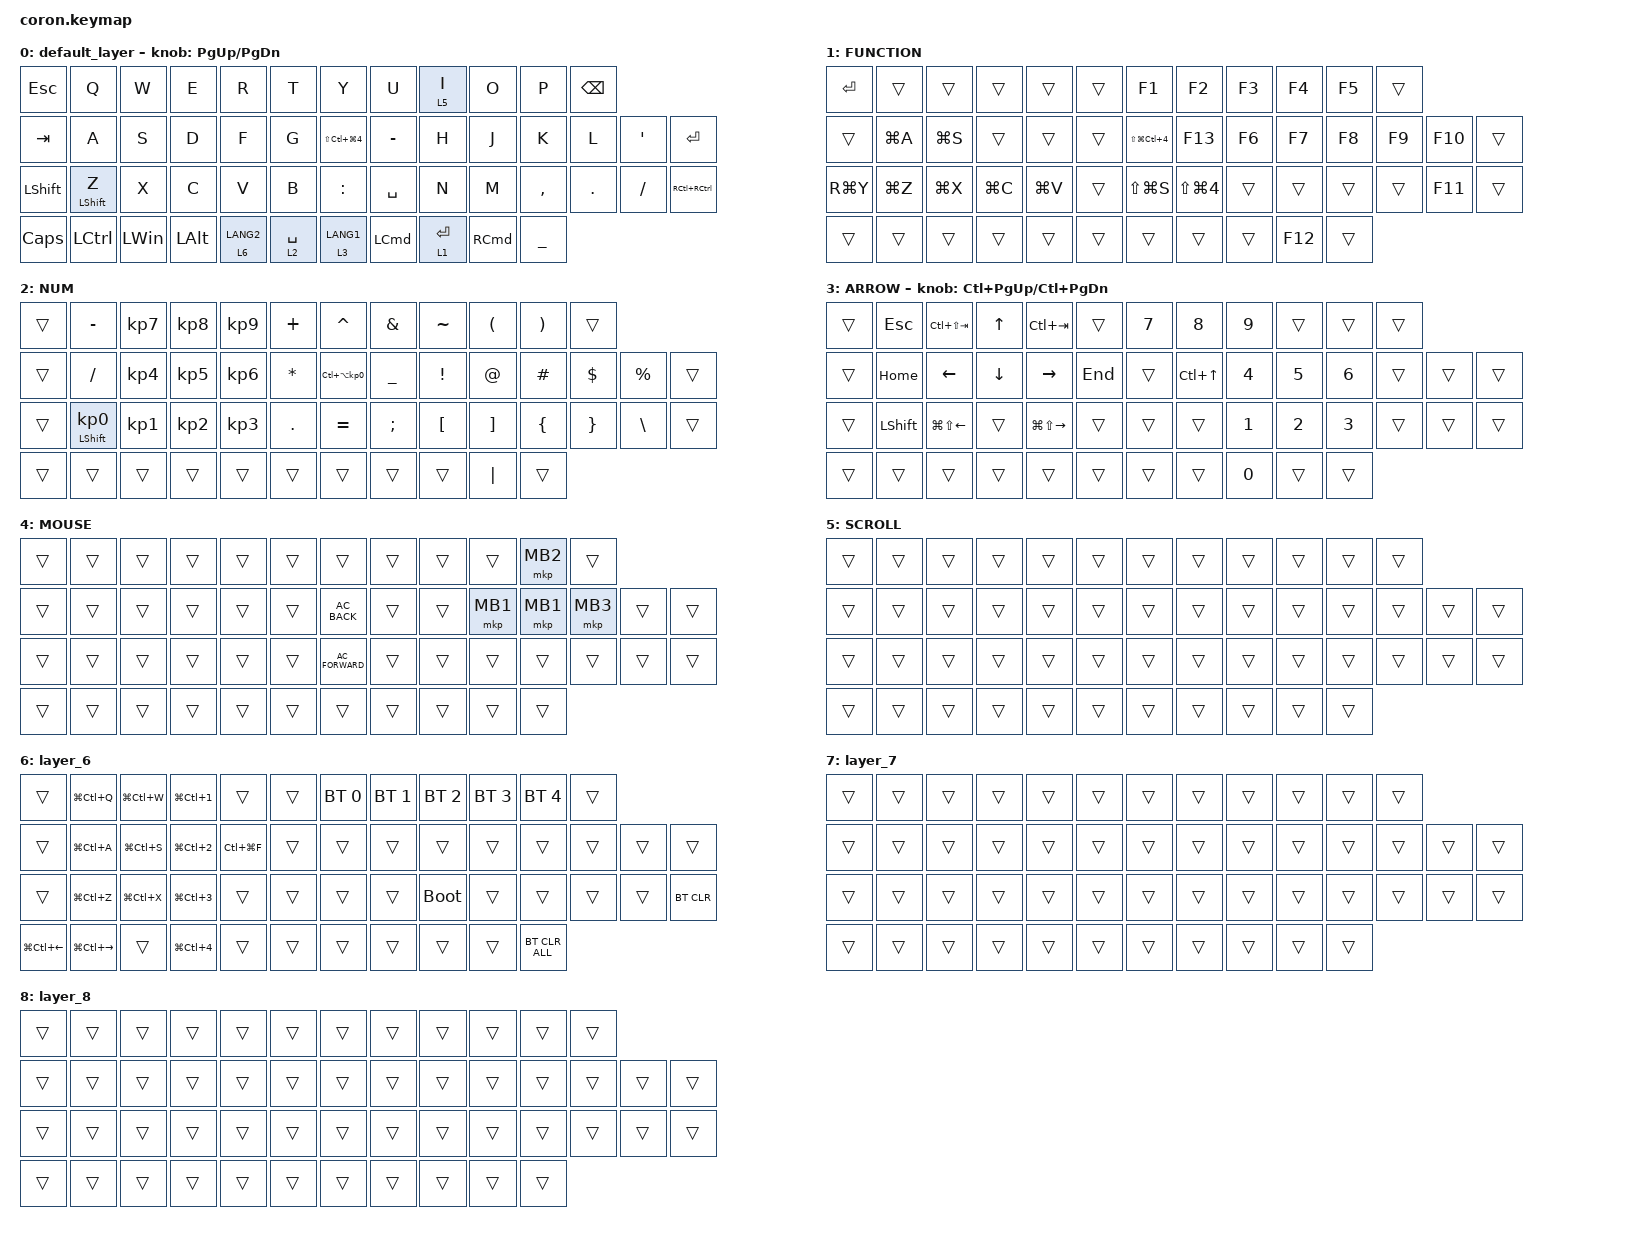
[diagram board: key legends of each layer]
/* coron.keymap */

#include <behaviors.dtsi>
#include <dt-bindings/zmk/bt.h>
#include <dt-bindings/zmk/keys.h>
#include <dt-bindings/zmk/pointing.h>

&mt {
    flavor = "balanced";
    quick-tap-ms = <0>;
};

&trackball {
    automouse-layer = <4>;
    scroll-layers = <5 7>;
};

/ {
    combos {
        compatible = "zmk,combos";

        /* Note: Key positions have shifted due to added columns. 
           You will need to recalculate these indices later. */

        tab {
            bindings = <&kp TAB>;
            key-positions = <11 12>;
        };

        shift_tab {
            bindings = <&kp LS(TAB)>;
            key-positions = <12 13>;
        };

        muhennkann {
            bindings = <&to_layer_0 INT_MUHENKAN>;
            key-positions = <11 10>;
        };

        double_quotation {
            bindings = <&kp DOUBLE_QUOTES>;
            key-positions = <20 21>;
        };

        eq {
            bindings = <&kp EQUAL>;
            key-positions = <24 25>;
        };
    };

    macros {
        to_layer_0: to_layer_0 {
            compatible = "zmk,behavior-macro-one-param";
            #binding-cells = <1>;
            bindings = <&to 0 &macro_param_1to1 &kp MACRO_PLACEHOLDER>;
            label = "TO_LAYER_0";
        };
    };

    behaviors {
        lt_to_layer_0: lt_to_layer_0 {
            compatible = "zmk,behavior-hold-tap";
            label = "LAYER_TAP_TO_0";
            bindings = <&mo>, <&to_layer_0>;

            #binding-cells = <2>;
            tapping-term-ms = <200>;
        };
    };

    keymap {
        compatible = "zmk,keymap";

        default_layer {
            bindings = <
&kp ESC         &kp Q             &kp W         &kp E         &kp R                   &kp T        &kp Y                     &kp U             &lt 5 I      &kp O              &kp P           &kp BACKSPACE
&kp TAB         &kp A             &kp S         &kp D         &kp F                   &kp G        &kp LS(LC(LG(NUMBER_4)))  &kp MINUS         &kp H        &kp J              &kp K           &kp L          &kp SQT    &kp ENTER
&kp LEFT_SHIFT  &mt LEFT_SHIFT Z  &kp X         &kp C         &kp V                   &kp B        &kp COLON                 &kp SPACE         &kp N        &kp M              &kp COMMA       &kp DOT        &kp SLASH  &kp RC(RCTRL)
&kp CAPS        &kp LCTRL         &kp LEFT_WIN  &kp LEFT_ALT  &lt_to_layer_0 6 LANG2  &lt 2 SPACE  &lt_to_layer_0 3 LANG1    &kp LEFT_COMMAND  &lt 1 ENTER  &kp RIGHT_COMMAND  &kp UNDERSCORE
            >;

            sensor-bindings = <&inc_dec_kp PG_UP PAGE_DOWN>;
        };

        FUNCTION {
            bindings = <
&kp ENTER  &trans     &trans     &trans     &trans     &trans  &kp F1                    &kp F2                &kp F3  &kp F4   &kp F5  &trans
&trans     &kp LG(A)  &kp LG(S)  &trans     &trans     &trans  &kp LS(LG(LC(NUMBER_4)))  &kp F13               &kp F6  &kp F7   &kp F8  &kp F9  &kp F10  &trans
&kp RG(Y)  &kp LG(Z)  &kp LG(X)  &kp LG(C)  &kp LG(V)  &trans  &kp LS(LG(S))             &kp LS(LG(NUMBER_4))  &trans  &trans   &trans  &trans  &kp F11  &trans
&trans     &trans     &trans     &trans     &trans     &trans  &trans                    &trans                &trans  &kp F12  &trans
            >;
        };

        NUM {
            bindings = <
&trans  &kp MINUS                   &kp KP_NUMBER_7  &kp KP_NUMBER_8  &kp KP_NUMBER_9  &kp PLUS      &kp CARET                &kp AMPERSAND   &kp TILDE         &kp LEFT_PARENTHESIS  &kp RIGHT_PARENTHESIS  &trans
&trans  &kp SLASH                   &kp KP_NUMBER_4  &kp KP_NUMBER_5  &kp KP_NUMBER_6  &kp ASTERISK  &kp LC(LA(KP_NUMBER_0))  &kp UNDERSCORE  &kp EXCLAMATION   &kp AT_SIGN           &kp HASH               &kp DOLLAR       &kp PERCENT    &trans
&trans  &mt LEFT_SHIFT KP_NUMBER_0  &kp KP_NUMBER_1  &kp KP_NUMBER_2  &kp KP_NUMBER_3  &kp PERIOD    &kp EQUAL                &kp SEMICOLON   &kp LEFT_BRACKET  &kp RIGHT_BRACKET     &kp LEFT_BRACE         &kp RIGHT_BRACE  &kp BACKSLASH  &trans
&trans  &trans                      &trans           &trans           &trans           &trans        &trans                   &trans          &trans            &kp PIPE              &trans
            >;
        };

        ARROW {
            bindings = <
&trans  &kp ESCAPE      &kp LC(LS(TAB))         &kp UP_ARROW    &kp LC(TAB)              &trans   &kp N7  &kp N8            &kp N9        &trans        &trans        &trans
&trans  &kp HOME        &kp LEFT_ARROW          &kp DOWN_ARROW  &kp RIGHT_ARROW          &kp END  &trans  &kp LC(UP_ARROW)  &kp NUMBER_4  &kp N5        &kp NUMBER_6  &trans  &trans  &trans
&trans  &kp LEFT_SHIFT  &kp LG(LS(LEFT_ARROW))  &trans          &kp LG(LS(RIGHT_ARROW))  &trans   &trans  &trans            &kp NUMBER_1  &kp NUMBER_2  &kp NUMBER_3  &trans  &trans  &trans
&trans  &trans          &trans                  &trans          &trans                   &trans   &trans  &trans            &kp N0        &trans        &trans
            >;

            sensor-bindings = <&inc_dec_kp LC(PAGE_UP) LC(PAGE_DOWN)>;
        };

        MOUSE {
            bindings = <
&trans  &trans  &trans  &trans  &trans  &trans  &trans            &trans  &trans  &trans    &mkp MB2  &trans
&trans  &trans  &trans  &trans  &trans  &trans  &kp C_AC_BACK     &trans  &trans  &mkp MB1  &mkp MB1  &mkp MB3  &trans  &trans
&trans  &trans  &trans  &trans  &trans  &trans  &kp C_AC_FORWARD  &trans  &trans  &trans    &trans    &trans    &trans  &trans
&trans  &trans  &trans  &trans  &trans  &trans  &trans            &trans  &trans  &trans    &trans
            >;
        };

        SCROLL {
            bindings = <
&trans  &trans  &trans  &trans  &trans  &trans  &trans  &trans  &trans  &trans  &trans  &trans
&trans  &trans  &trans  &trans  &trans  &trans  &trans  &trans  &trans  &trans  &trans  &trans  &trans  &trans
&trans  &trans  &trans  &trans  &trans  &trans  &trans  &trans  &trans  &trans  &trans  &trans  &trans  &trans
&trans  &trans  &trans  &trans  &trans  &trans  &trans  &trans  &trans  &trans  &trans
            >;
        };

        layer_6 {
            bindings = <
&trans                  &kp LG(LC(Q))            &kp LG(LC(W))  &kp LG(LC(NUMBER_1))  &trans         &trans  &bt BT_SEL 0  &bt BT_SEL 1  &bt BT_SEL 2  &bt BT_SEL 3  &bt BT_SEL 4    &trans
&trans                  &kp LG(LC(A))            &kp LG(LC(S))  &kp LG(LC(NUMBER_2))  &kp LC(LG(F))  &trans  &trans        &trans        &trans        &trans        &trans          &trans  &trans  &trans
&trans                  &kp LG(LC(Z))            &kp LG(LC(X))  &kp LG(LC(NUMBER_3))  &trans         &trans  &trans        &trans        &bootloader   &trans        &trans          &trans  &trans  &bt BT_CLR
&kp LG(LC(LEFT_ARROW))  &kp LG(LC(RIGHT_ARROW))  &trans         &kp LG(LC(NUMBER_4))  &trans         &trans  &trans        &trans        &trans        &trans        &bt BT_CLR_ALL
            >;
        };

        layer_7 {
            bindings = <
&trans  &trans  &trans  &trans  &trans  &trans  &trans  &trans  &trans  &trans  &trans  &trans
&trans  &trans  &trans  &trans  &trans  &trans  &trans  &trans  &trans  &trans  &trans  &trans  &trans  &trans
&trans  &trans  &trans  &trans  &trans  &trans  &trans  &trans  &trans  &trans  &trans  &trans  &trans  &trans
&trans  &trans  &trans  &trans  &trans  &trans  &trans  &trans  &trans  &trans  &trans
            >;
        };

        layer_8 {
            bindings = <
&trans  &trans  &trans  &trans  &trans  &trans  &trans  &trans  &trans  &trans  &trans  &trans
&trans  &trans  &trans  &trans  &trans  &trans  &trans  &trans  &trans  &trans  &trans  &trans  &trans  &trans
&trans  &trans  &trans  &trans  &trans  &trans  &trans  &trans  &trans  &trans  &trans  &trans  &trans  &trans
&trans  &trans  &trans  &trans  &trans  &trans  &trans  &trans  &trans  &trans  &trans
            >;
        };
    };
};
